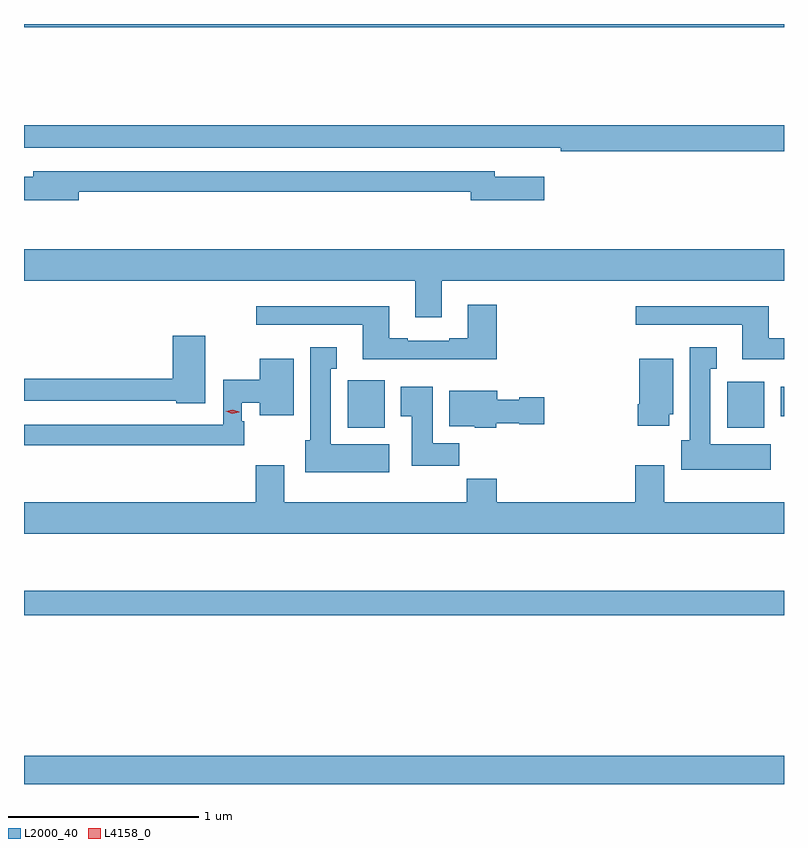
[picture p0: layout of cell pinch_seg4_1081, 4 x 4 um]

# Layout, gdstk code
import gdstk
lib = gdstk.Library(unit=1e-6, precision=1e-09)
def R(c, l, rs):  # rectangles x0, y0, x1, y1
    for r in rs: c.add(gdstk.rectangle(r[:2], r[2:], *l))
def P(c, l, *ps):  # polygons
    for p in ps: c.add(gdstk.Polygon(p, *l))
L2000_40 = (2000, 40)
L4158_0 = (4158, 0)

pinch_seg4_1081 = lib.new_cell('pinch_seg4_1081')
R(pinch_seg4_1081, L2000_40, [(554.38,820.81,558.38,820.96), (554.38,821.698,558.38,821.827), (556.083,822.686,556.279,822.936), (558.08,822.686,558.277,822.928), (558.362,822.745,558.38,822.901), (554.38,824.792,558.38,824.81)])
P(pinch_seg4_1081, L2000_40, [(558.38,824.276),(554.38,824.276),(554.38,824.16),(556.954,824.16),(556.954,824.159),(557.206,824.159),(557.206,824.14),(558.38,824.14)],
  [(554.668,823.926),(556.73,823.926),(556.73,823.883),(557.119,823.883),(557.119,824.005),(556.858,824.005),(556.858,824.034),(554.429,824.034),(554.429,824.005),(554.38,824.005),(554.38,823.883),(554.668,823.883)],
  [(556.579,823.46),(558.38,823.46),(558.38,823.624),(554.38,823.624),(554.38,823.46),(556.439,823.46),(556.439,823.266),(556.579,823.266)],
  [(556.868,823.333),(556.715,823.333),(556.715,823.156),(556.619,823.156),(556.619,823.143),(556.399,823.143),(556.399,823.156),(556.303,823.156),(556.303,823.324),(555.603,823.324),(555.603,823.227),(556.163,823.227),(556.163,823.046),(556.868,823.046)],
  [(558.38,823.156),(558.301,823.156),(558.301,823.324),(557.601,823.324),(557.601,823.227),(558.161,823.227),(558.161,823.046),(558.38,823.046)],
  [(555.334,823.168),(555.164,823.168),(555.164,822.944),(554.38,822.944),(554.38,822.828),(555.18,822.828),(555.18,822.815),(555.334,822.815)],
  [(556.303,822.598),(555.994,822.598),(555.994,822.995),(556.027,822.995),(556.027,823.108),(555.887,823.108),(555.887,822.618),(555.86,822.618),(555.86,822.452),(556.303,822.452)],
  [(558.31,822.598),(557.992,822.598),(557.992,822.995),(558.025,822.995),(558.025,823.108),(557.885,823.108),(557.885,822.618),(557.84,822.618),(557.84,822.464),(558.31,822.464)],
  [(555.538,822.72),(555.525,822.72),(555.525,822.816),(555.62,822.816),(555.62,822.752),(555.799,822.752),(555.799,823.048),(555.62,823.048),(555.62,822.937),(555.429,822.937),(555.429,822.702),(554.38,822.702),(554.38,822.594),(555.538,822.594)],
  [(557.776,822.756),(557.797,822.756),(557.797,823.048),(557.618,823.048),(557.618,822.808),(557.611,822.808),(557.611,822.696),(557.776,822.696)],
  [(556.67,822.604),(556.531,822.604),(556.531,822.901),(556.364,822.901),(556.364,822.745),(556.421,822.745),(556.421,822.486),(556.67,822.486)],
  [(556.866,822.71),(556.986,822.71),(556.986,822.703),(557.119,822.703),(557.119,822.845),(556.986,822.845),(556.986,822.832),(556.87,822.832),(556.87,822.88),(556.619,822.88),(556.619,822.692),(556.752,822.692),(556.752,822.686),(556.866,822.686)],
  [(558.38,822.292),(557.749,822.292),(557.749,822.487),(557.597,822.487),(557.597,822.292),(556.868,822.292),(556.868,822.416),(556.711,822.416),(556.711,822.292),(555.751,822.292),(555.751,822.487),(555.599,822.487),(555.599,822.292),(554.38,822.292),(554.38,822.128),(558.38,822.128)])
P(pinch_seg4_1081, L4158_0, [(555.477,822.76),(555.443,822.772),(555.442,822.772),(555.443,822.772),(555.478,822.78),(555.513,822.768),(555.513,822.767),(555.513,822.767)])

lib.write_gds('pinch_seg4_1081.gds')
